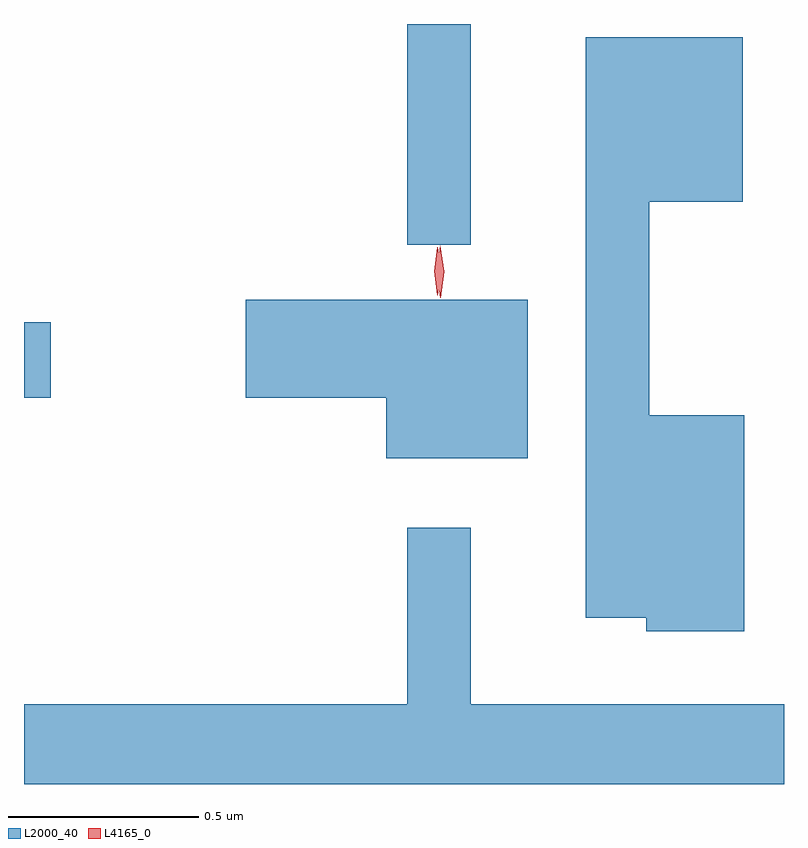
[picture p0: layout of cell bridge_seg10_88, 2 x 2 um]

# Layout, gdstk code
import gdstk
lib = gdstk.Library(unit=1e-6, precision=1e-09)
def R(c, l, rs):  # rectangles x0, y0, x1, y1
    for r in rs: c.add(gdstk.rectangle(r[:2], r[2:], *l))
def P(c, l, *ps):  # polygons
    for p in ps: c.add(gdstk.Polygon(p, *l))
L2000_40 = (2000, 40)
L4165_0 = (4165, 0)

bridge_seg10_88 = lib.new_cell('bridge_seg10_88')
R(bridge_seg10_88, L2000_40, [(1557.073,2192.691,1557.144,2192.889), (1558.081,2193.093,1558.249,2193.674)])
P(bridge_seg10_88, L2000_40, [(1558.969,2192.644),(1558.719,2192.644),(1558.719,2193.206),(1558.964,2193.206),(1558.964,2193.639),(1558.551,2193.639),(1558.551,2192.111),(1558.711,2192.111),(1558.711,2192.076),(1558.969,2192.076)],
  [(1558.399,2192.949),(1557.656,2192.949),(1557.656,2192.691),(1558.026,2192.691),(1558.026,2192.531),(1558.399,2192.531)],
  [(1559.073,2191.884),(1558.249,2191.884),(1558.249,2192.348),(1558.081,2192.348),(1558.081,2191.884),(1557.073,2191.884),(1557.073,2191.674),(1559.073,2191.674)])
P(bridge_seg10_88, L4165_0, [(1558.169,2192.954),(1558.169,2192.954),(1558.159,2193.022),(1558.168,2193.09),(1558.168,2193.09),(1558.169,2193.09),(1558.179,2193.022),(1558.17,2192.954)],
  [(1558.161,2192.96),(1558.152,2193.024),(1558.161,2193.086),(1558.162,2193.087),(1558.162,2193.086),(1558.172,2193.024),(1558.162,2192.96),(1558.162,2192.96)])

lib.write_gds('bridge_seg10_88.gds')
